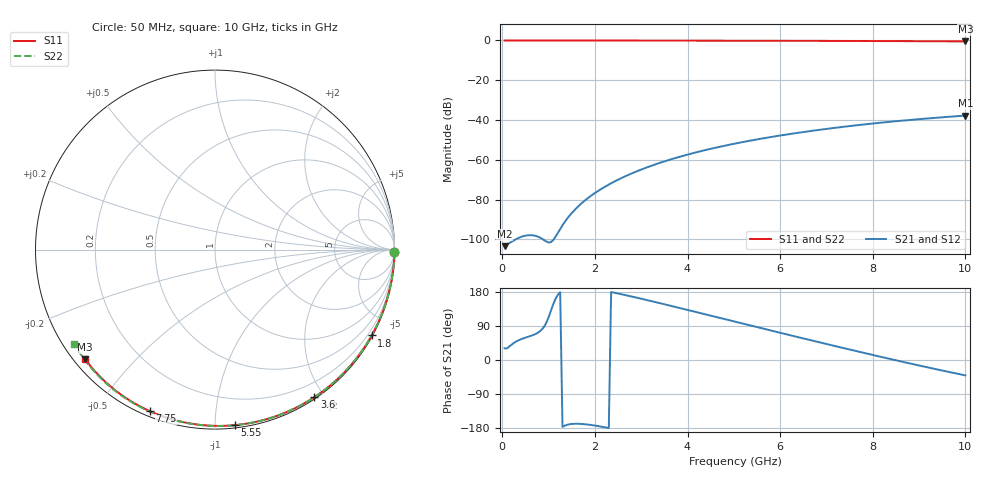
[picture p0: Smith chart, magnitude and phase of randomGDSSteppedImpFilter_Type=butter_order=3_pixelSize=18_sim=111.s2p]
! freq	dB(S11)	phase(S11)	dB(S12)	phase(S12)
!  dB(S21)	phase(S21)	dB(S22)	phase(S22)
!S-par simulation data
#  GHz  S  DB  R 50
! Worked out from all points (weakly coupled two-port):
!   200 points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, 50 MHz to 10 GHz, reference 50 ohm
!   highest |S21| = -37.75 dB at 10 GHz (marker M1); lowest = -103.4 dB at 50 MHz (marker M2)
!   lowest |S11| = -0.5 dB at 10 GHz (marker M3), VSWR 36.58, Z = 1.55 - j18.3 ohm
!   |S11| at or under -10 dB: nowhere
!   |S22| runs from -0.5 to 0.0 dB; largest |S21 - S12| = 0
!   S11 on the Smith chart (normalised r, x): 50 MHz: open; 1.8 GHz: 0.03, -3.91; 3.6 GHz: 0.02, -1.88; 5.55 GHz: 0.02, -1.12; 7.75 GHz: 0.02, -0.67; 10 GHz: 0.03, -0.37
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0.05  -0.00 -0.8  -103.36 30.9  -103.36 30.9  -0.00 -0.9
0.45  -0.01 -7.3  -98.37 57.0  -98.37 57.0  -0.01 -7.6
0.9  -0.02 -14.5  -100.27 87.5  -100.27 87.5  -0.02 -15.2
1.3  -0.03 -20.8  -92.85 -176.4  -92.85 -176.4  -0.03 -21.8
1.75  -0.04 -27.9  -81.06 -169.1  -81.06 -169.1  -0.04 -29.2
1.8  -0.04 -28.7  -80.09 -169.7  -80.09 -169.7  -0.04 -30.0
2  -0.04 -31.8  -76.67 -173.0  -76.67 -173.0  -0.04 -33.3
2.15  -0.04 -34.1  -74.43 -176.1  -74.43 -176.1  -0.05 -35.7
2.5  -0.05 -39.5  -69.96 175.4  -69.96 175.4  -0.05 -41.4
2.9  -0.06 -45.6  -65.79 164.6  -65.79 164.6  -0.06 -47.7
3.4  -0.07 -53.1  -61.51 150.1  -61.51 150.1  -0.07 -55.5
3.6  -0.08 -56.0  -60.03 144.1  -60.03 144.1  -0.08 -58.6
4.3  -0.09 -66.1  -55.55 123.0  -55.55 123.0  -0.10 -69.1
5.05  -0.12 -76.7  -51.70 100.3  -51.70 100.3  -0.12 -80.1
5.55  -0.14 -83.5  -49.52 85.2  -49.52 85.2  -0.14 -87.2
6.1  -0.16 -90.8  -47.40 68.8  -47.40 68.8  -0.17 -94.9
6.7  -0.19 -98.7  -45.36 51.0  -45.36 51.0  -0.20 -103.0
7.2  -0.22 -105.1  -43.85 36.3  -43.85 36.3  -0.23 -109.7
7.75  -0.26 -112.0  -42.35 20.4  -42.35 20.4  -0.27 -117.0
8.35  -0.31 -119.5  -40.91 3.4  -40.91 3.4  -0.32 -124.8
9.2  -0.38 -129.9  -39.15 -19.9  -39.15 -19.9  -0.40 -135.7
10  -0.48 -139.9  -37.75 -40.6  -37.75 -40.6  -0.50 -146.1
